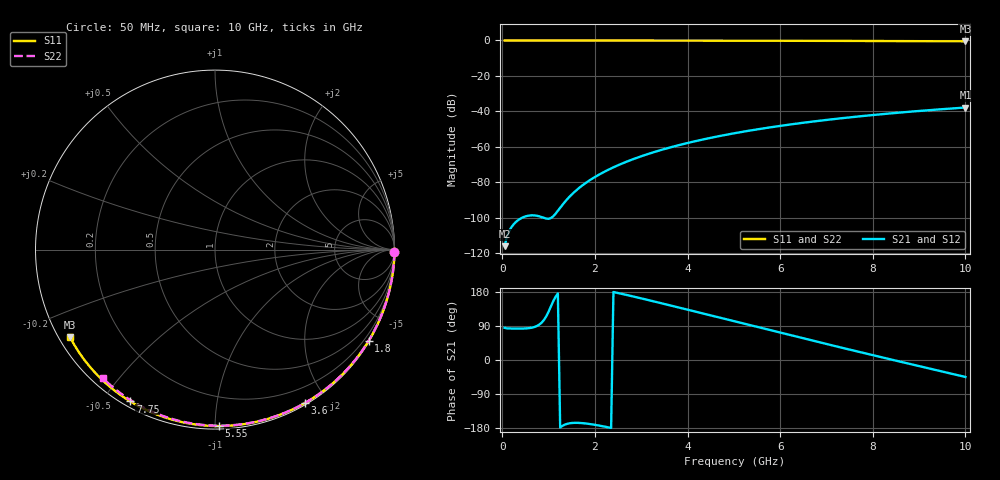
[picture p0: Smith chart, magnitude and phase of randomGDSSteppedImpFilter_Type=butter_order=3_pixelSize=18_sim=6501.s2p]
! freq	dB(S11)	phase(S11)	dB(S12)	phase(S12)
!  dB(S21)	phase(S21)	dB(S22)	phase(S22)
!S-par simulation data
#  GHz  S  DB  R 50
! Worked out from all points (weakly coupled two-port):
!   200 points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, 50 MHz to 10 GHz, reference 50 ohm
!   highest |S21| = -37.81 dB at 10 GHz (marker M1); lowest = -116.0 dB at 50 MHz (marker M2)
!   lowest |S11| = -0.5 dB at 10 GHz (marker M3), VSWR 34.51, Z = 1.56 - j13.9 ohm
!   |S11| at or under -10 dB: nowhere
!   |S22| runs from -0.4 to 0.0 dB; largest |S21 - S12| = 0
!   S11 on the Smith chart (normalised r, x): 50 MHz: open; 1.8 GHz: 0.03, -3.65; 3.6 GHz: 0.02, -1.74; 5.55 GHz: 0.02, -1.02; 7.75 GHz: 0.02, -0.59; 10 GHz: 0.03, -0.28
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0.05  -0.00 -0.9  -115.99 85.0  -115.99 85.0  -0.00 -0.8
0.45  -0.01 -7.8  -99.69 83.0  -99.69 83.0  -0.01 -6.8
0.9  -0.02 -15.5  -100.06 105.8  -100.06 105.8  -0.02 -13.5
1.3  -0.03 -22.2  -92.62 -173.6  -92.62 -173.6  -0.02 -19.5
1.75  -0.04 -29.8  -81.31 -166.9  -81.31 -166.9  -0.03 -26.1
1.8  -0.04 -30.6  -80.37 -167.5  -80.37 -167.5  -0.03 -26.8
1.85  -0.04 -31.4  -79.47 -168.3  -79.47 -168.3  -0.04 -27.6
2.05  -0.04 -34.8  -76.22 -172.1  -76.22 -172.1  -0.04 -30.5
2.2  -0.05 -37.2  -74.08 -175.5  -74.08 -175.5  -0.04 -32.7
2.55  -0.06 -42.9  -69.79 175.4  -69.79 175.4  -0.05 -37.7
2.95  -0.06 -49.4  -65.75 164.1  -65.75 164.1  -0.06 -43.4
3.4  -0.08 -56.5  -61.97 150.9  -61.97 150.9  -0.07 -49.7
3.6  -0.08 -59.7  -60.49 144.9  -60.49 144.9  -0.07 -52.5
4.3  -0.10 -70.4  -56.02 123.7  -56.02 123.7  -0.09 -62.0
5.05  -0.13 -81.6  -52.14 100.8  -52.14 100.8  -0.11 -71.9
5.55  -0.15 -88.8  -49.94 85.7  -49.94 85.7  -0.13 -78.4
6.1  -0.17 -96.6  -47.80 69.1  -47.80 69.1  -0.15 -85.3
6.7  -0.20 -104.9  -45.74 51.1  -45.74 51.1  -0.18 -92.7
7.75  -0.28 -119.1  -42.69 20.1  -42.69 20.1  -0.24 -105.3
8.35  -0.33 -127.1  -41.20 2.6  -41.20 2.6  -0.29 -112.2
9.2  -0.41 -138.3  -39.33 -21.9  -39.33 -21.9  -0.36 -122.0
10  -0.50 -148.9  -37.81 -44.7  -37.81 -44.7  -0.44 -131.0
